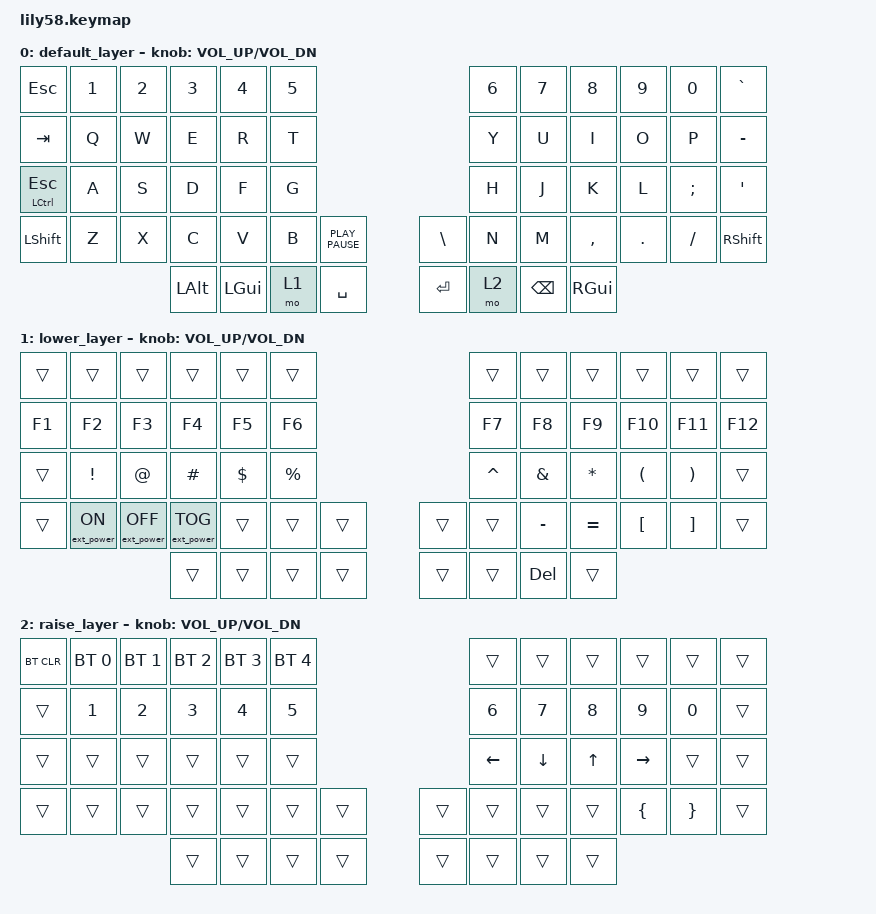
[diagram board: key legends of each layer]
/*
 * Copyright (c) 2020 The ZMK Contributors
 *
 * SPDX-License-Identifier: MIT
 */

#include <behaviors.dtsi>
#include <dt-bindings/zmk/bt.h>
#include <dt-bindings/zmk/ext_power.h>
#include <dt-bindings/zmk/keys.h>

/ {
    keymap {
        compatible = "zmk,keymap";

        default_layer {
            // ------------------------------------------------------------------------------------------------------------
            // |  ESC  |  1  |  2  |  3   |  4   |  5   |                   |  6   |  7    |  8    |  9   |   0   |   `   |
            // |  TAB  |  Q  |  W  |  E   |  R   |  T   |                   |  Y   |  U    |  I    |  O   |   P   |   -   |
            // |  CTRL |  A  |  S  |  D   |  F   |  G   |                   |  H   |  J    |  K    |  L   |   ;   |   '   |
            // | SHIFT |  Z  |  X  |  C   |  V   |  B   |   "["  |  |  "]"  |  N   |  M    |  ,    |  .   |   /   | SHIFT |
            //                     | ALT  | GUI  | LOWER|  SPACE |  | ENTER | RAISE| BSPC  | GUI   |

            bindings = <
&kp ESC           &kp N1  &kp N2  &kp N3    &kp N4    &kp N5                                     &kp N6  &kp N7    &kp N8     &kp N9   &kp N0    &kp GRAVE
&kp TAB           &kp Q   &kp W   &kp E     &kp R     &kp T                                      &kp Y   &kp U     &kp I      &kp O    &kp P     &kp MINUS
&mt LCTRL ESCAPE  &kp A   &kp S   &kp D     &kp F     &kp G                                      &kp H   &kp J     &kp K      &kp L    &kp SEMI  &kp SQT
&kp LSHFT         &kp Z   &kp X   &kp C     &kp V     &kp B   &kp K_PLAY_PAUSE    &kp BACKSLASH  &kp N   &kp M     &kp COMMA  &kp DOT  &kp FSLH  &kp RSHFT
                                  &kp LALT  &kp LGUI  &mo 1   &kp SPACE           &kp ENTER      &mo 2   &kp BSPC  &kp RGUI
            >;

            sensor-bindings = <&inc_dec_kp C_VOL_UP C_VOL_DN>;
        };

        lower_layer {
            // ------------------------------------------------------------------------------------------------------------
            // | BTCLR | BT1 | BT2 |  BT3 |  BT4 |  BT5 |                   |      |       |       |      |       |       |
            // |  F1   |  F2 |  F3 |  F4  |  F5  |  F6  |                   |  F7  |  F8   |  F9   |  F10 |  F11  |  F12  |
            // |   `   |  !  |  @  |  #   |  $   |  %   |                   |  ^   |  &    |  *    |  (   |   )   |   ~   |
            // |       |     |     |      |      |      |        |  |       |      |  _    |  +    |  {   |   }   |  "|"  |
            //                     |      |      |      |        |  |       |      |       |       |

            bindings = <
&trans  &trans            &trans             &trans             &trans      &trans                         &trans     &trans     &trans     &trans            &trans             &trans
&kp F1  &kp F2            &kp F3             &kp F4             &kp F5      &kp F6                         &kp F7     &kp F8     &kp F9     &kp F10           &kp F11            &kp F12
&trans  &kp EXCL          &kp AT             &kp HASH           &kp DOLLAR  &kp PERCENT                    &kp CARET  &kp AMPS   &kp ASTRK  &kp LPAR          &kp RPAR           &trans
&trans  &ext_power EP_ON  &ext_power EP_OFF  &ext_power EP_TOG  &trans      &trans       &trans    &trans  &trans     &kp MINUS  &kp EQUAL  &kp LEFT_BRACKET  &kp RIGHT_BRACKET  &trans
                                             &trans             &trans      &trans       &trans    &trans  &trans     &kp DEL    &trans
            >;

            sensor-bindings = <&inc_dec_kp C_VOL_UP C_VOL_DN>;
        };

        raise_layer {
            // ------------------------------------------------------------------------------------------------------------
            // |       |     |     |      |      |      |                   |      |       |       |      |       |       |
            // |   `   |  1  |  2  |  3   |  4   |  5   |                   |  6   |   7   |   8   |  9   |   0   |       |
            // |   F1  |  F2 |  F3 |  F4  |  F5  |  F6  |                   |      |   <-  |   v   |  ^   |  ->   |       |
            // |   F7  |  F8 |  F9 |  F10 |  F11 |  F12 |        |  |       |  +   |   -   |   =   |  [   |   ]   |   \   |
            //                     |      |      |      |        |  |       |      |       |       |

            bindings = <
&bt BT_CLR  &bt BT_SEL 0  &bt BT_SEL 1  &bt BT_SEL 2  &bt BT_SEL 3  &bt BT_SEL 4                    &trans          &trans          &trans  &trans          &trans           &trans
&trans      &kp N1        &kp N2        &kp N3        &kp N4        &kp N5                          &kp N6          &kp N7          &kp N8  &kp N9          &kp N0           &trans
&trans      &trans        &trans        &trans        &trans        &trans                          &kp LEFT_ARROW  &kp DOWN_ARROW  &kp UP  &kp RIGHT       &trans           &trans
&trans      &trans        &trans        &trans        &trans        &trans        &trans    &trans  &trans          &trans          &trans  &kp LEFT_BRACE  &kp RIGHT_BRACE  &trans
                                        &trans        &trans        &trans        &trans    &trans  &trans          &trans          &trans
            >;

            sensor-bindings = <&inc_dec_kp C_VOL_UP C_VOL_DN>;
        };
    };
};
